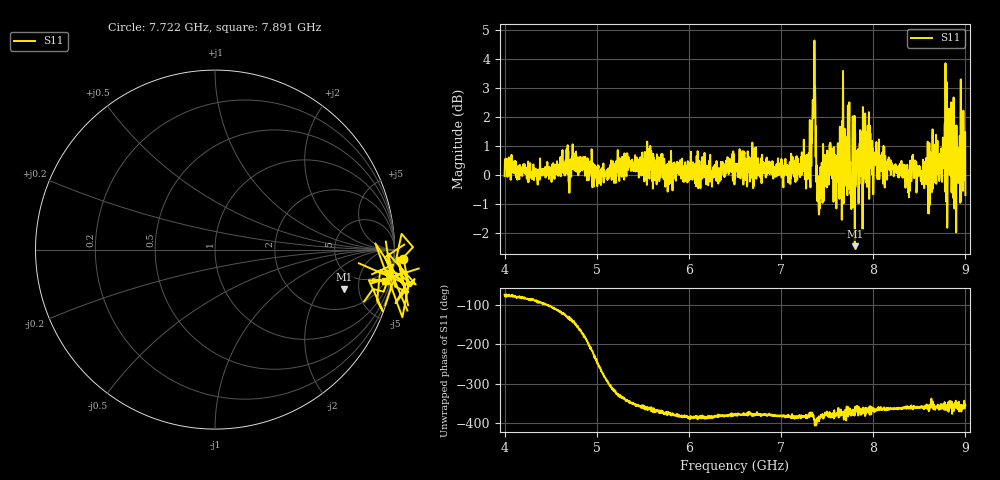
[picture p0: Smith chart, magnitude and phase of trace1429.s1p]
! Created with skrf 1.8.0 (http://scikit-rf.org).
# Hz S RI R 50.0
!freq ReS11 ImS11
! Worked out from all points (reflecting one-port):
!   1601 points, 4 GHz to 9 GHz, reference 50 ohm
!   lowest |S11| = -2.5 dB at 7.8 GHz (marker M1), VSWR 7.13, Z = 171 - j174 ohm
!   phase of S11 starts at -74 deg and turns -279 deg over the sweep
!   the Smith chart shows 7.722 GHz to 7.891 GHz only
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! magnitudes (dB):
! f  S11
! 4 GHz  0.0
! 4.625 GHz  0.6
! 5.022 GHz  0.0
! 5.25 GHz  0.6
! 5.875 GHz  0.1
! 6.5 GHz  -0.1
! 7.125 GHz  0.2
! 7.294 GHz  0.0
! 7.316 GHz  0.0
! 7.347 GHz  2.3
! 7.366 GHz  2.7
! 7.409 GHz  -1.2
! 7.525 GHz  0.9
! 7.609 GHz  0.6
! 7.688 GHz  1.2
! 7.75 GHz  0.5
! 7.775 GHz  1.1
! 7.8 GHz  -2.5
! 7.962 GHz  1.7
! 8.375 GHz  0.2
! 8.441 GHz  -0.1
! 8.591 GHz  1.2
! 8.675 GHz  0.1
! 8.728 GHz  0.1
! 8.775 GHz  1.8
! 8.875 GHz  1.0
! 8.972 GHz  0.5
! 9 GHz  -0.7
